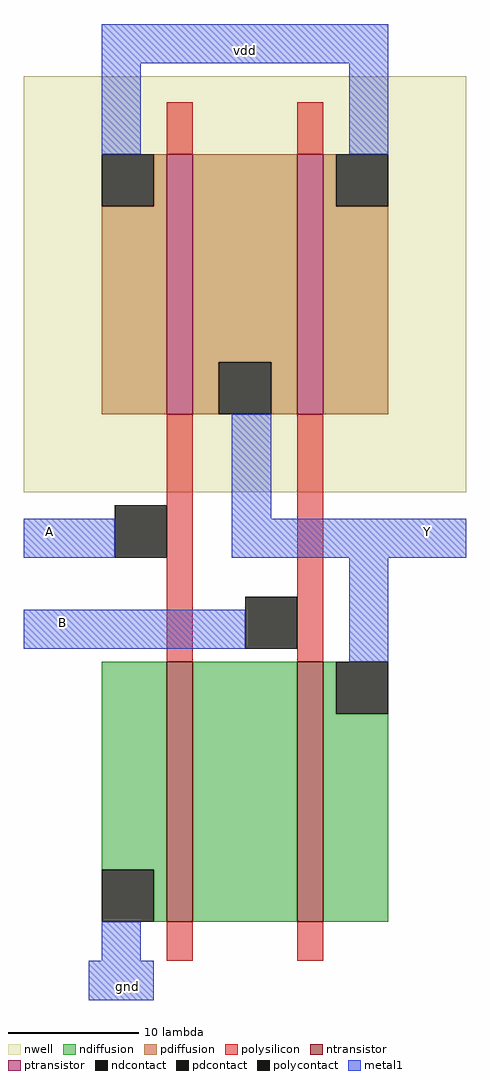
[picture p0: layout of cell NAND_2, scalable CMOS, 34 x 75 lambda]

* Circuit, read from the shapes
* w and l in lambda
.subckt NAND_2 A B Y gnd vdd
M1 n1 A gnd VSUBS nfet w=20 l=2
M2 Y B n1 VSUBS nfet w=20 l=2
M3 Y A vdd n2 pfet w=20 l=2
M4 vdd B Y n2 pfet w=20 l=2
.ends

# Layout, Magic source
magic
tech scmos
<< nwell >>
rect 0 0 34 32
<< ntransistor >>
rect 11 -33 13 -13
rect 21 -33 23 -13
<< ptransistor >>
rect 11 6 13 26
rect 21 6 23 26
<< ndiffusion >>
rect 6 -29 11 -13
rect 10 -33 11 -29
rect 13 -33 21 -13
rect 23 -17 24 -13
rect 23 -33 28 -17
<< pdiffusion >>
rect 10 22 11 26
rect 6 6 11 22
rect 13 10 21 26
rect 13 6 15 10
rect 19 6 21 10
rect 23 22 24 26
rect 23 6 28 22
<< ndcontact >>
rect 6 -33 10 -29
rect 24 -17 28 -13
<< pdcontact >>
rect 6 22 10 26
rect 15 6 19 10
rect 24 22 28 26
<< polysilicon >>
rect 11 26 13 30
rect 21 26 23 30
rect 11 -13 13 6
rect 21 -13 23 6
rect 11 -36 13 -33
rect 21 -36 23 -33
<< polycontact >>
rect 7 -5 11 -1
rect 17 -12 21 -8
<< metal1 >>
rect 6 33 28 36
rect 6 26 9 33
rect 25 26 28 33
rect 0 -5 7 -2
rect 16 -2 19 6
rect 16 -5 34 -2
rect 0 -12 17 -9
rect 25 -13 28 -5
rect 6 -36 9 -33
rect 5 -39 10 -36
<< labels >>
rlabel metal1 2 -3 2 -3 3 A
rlabel metal1 31 -3 31 -3 7 Y
rlabel metal1 17 34 17 34 5 vdd
rlabel metal1 3 -10 3 -10 3 B
rlabel metal1 8 -38 8 -38 1 gnd
<< end >>
